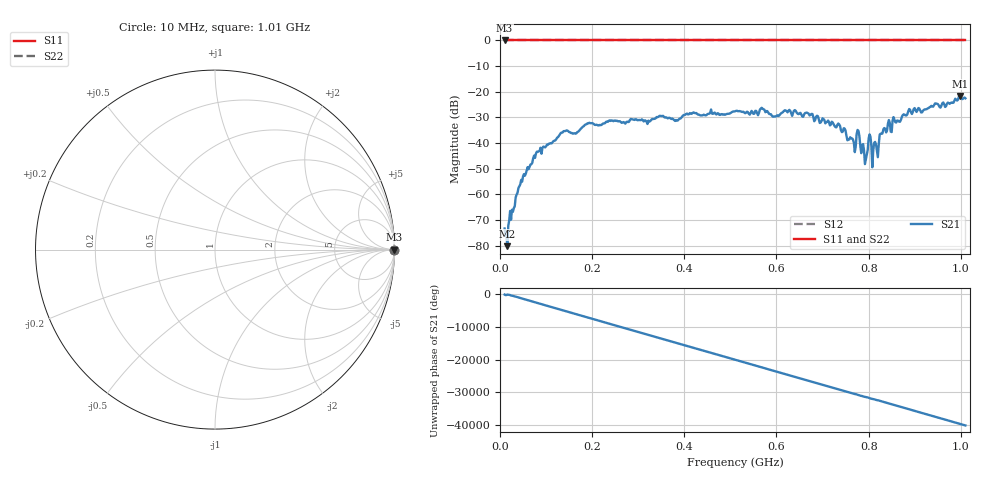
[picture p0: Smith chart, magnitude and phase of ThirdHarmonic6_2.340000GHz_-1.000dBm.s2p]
! 8/17/2025 3:27:13 AM
! C:\ANRITSUVNA\TEMP\TEMP.S2P
! CHANNEL.1
! TR.MEASUREMENT
! RAW.DATA
! RF.CORRECTION.OFF
! AVERAGING.OFF
! IF.BANDWIDTH: 5KHZ
! SWEEPTYPE:  FREQ.SWEEP(Linear)
! Reference Plane Port Info
! PORT:  PORT1  PORT2
! DISTANCE:  0  m  0  m
! TIME:  0  s  0  s
! PHASE.OFFSET:  0  deg.  0  deg.
! LOSS:  0  dB  0  dB
! REF.LOSS:  0  dB  0  dB
! REF.FREQ:  0  Hz  0  Hz
! Power Info
! POWER:  -20  dBm  -20  dBm
! EFF.POWER:  -20  dBm  -20  dBm
! SOURCE.ATTEN:  0  dB  0  dB
! TEST.ATTEN:  0  dB  0  dB
# GHZ S RI R 50.0
! FREQ.GHZ  S11RE  S11IM  S21RE  S21IM  S12RE  S12IM  S22RE  S22IM
!; PortSelection: Port_12
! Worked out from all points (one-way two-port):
!   501 points, 10 MHz to 1.01 GHz, reference 50 ohm
!   highest |S21| = -21.58 dB at 998 MHz (marker M1); lowest = -80.2 dB at 16 MHz (marker M2)
!   lowest |S11| = 0.0 dB at 10 MHz (marker M3)
!   |S11| at or under -10 dB: nowhere
!   |S22| runs from 0.0 to 0.0 dB; largest |S21 - S12| = 1.1
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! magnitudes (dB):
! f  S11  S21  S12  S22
! 10 MHz  0.0  -73.3  0.0  0.0
! 16 MHz  0.0  -80.2  0.0  0.0
! 42 MHz  0.0  -56.8  0.0  0.0
! 76 MHz  0.0  -45.8  0.0  0.0
! 136 MHz  0.0  -35.9  0.0  0.0
! 178 MHz  0.0  -33.9  0.0  0.0
! 344 MHz  0.0  -29.7  0.0  0.0
! 382 MHz  0.0  -31.0  0.0  0.0
! 510 MHz  0.0  -27.6  0.0  0.0
! 678 MHz  0.0  -28.7  0.0  0.0
! 736 MHz  0.0  -32.6  0.0  0.0
! 768 MHz  0.0  -39.9  0.0  0.0
! 778 MHz  0.0  -35.2  0.0  0.0
! 794 MHz  0.0  -46.2  0.0  0.0
! 802 MHz  0.0  -36.6  0.0  0.0
! 810 MHz  0.0  -42.8  0.0  0.0
! 818 MHz  0.0  -42.9  0.0  0.0
! 828 MHz  0.0  -36.4  0.0  0.0
! 844 MHz  0.0  -31.0  0.0  0.0
! 888 MHz  0.0  -26.7  0.0  0.0
! 998 MHz  0.0  -21.6  0.0  0.0
! 1.01 GHz  0.0  -22.6  0.0  0.0
